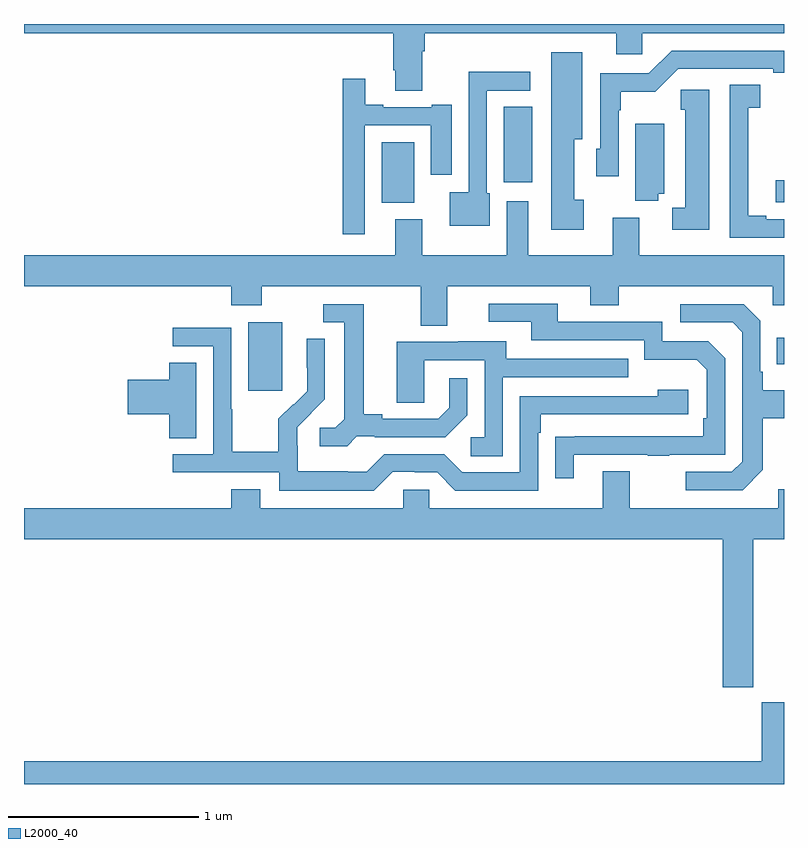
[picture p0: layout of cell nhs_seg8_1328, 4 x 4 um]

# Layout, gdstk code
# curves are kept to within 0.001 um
import gdstk
lib = gdstk.Library(unit=1e-6, precision=1e-09)
def R(c, l, rs):  # rectangles x0, y0, x1, y1
    for r in rs: c.add(gdstk.rectangle(r[:2], r[2:], *l))
def P(c, l, *ps):  # polygons
    for p in ps: c.add(gdstk.Polygon(p, *l))
L2000_40 = (2000, 40)

nhs_seg8_1328 = lib.new_cell('nhs_seg8_1328')
R(nhs_seg8_1328, L2000_40, [(196.181,1095.969,196.36,1096.33), (198.961,1096.109,199,1096.249), (196.883,1096.958,197.053,1097.278), (198.957,1096.963,199,1097.078), (197.525,1097.067,197.674,1097.465)])
P(nhs_seg8_1328, L2000_40, [(197.095,1097.756),(197.108,1097.756),(197.108,1097.852),(198.116,1097.852),(198.116,1097.742),(198.255,1097.742),(198.255,1097.852),(199,1097.852),(199,1097.9),(195,1097.9),(195,1097.852),(196.943,1097.852),(196.943,1097.656),(196.955,1097.656),(196.955,1097.548),(197.095,1097.548)],
  [(198.129,1097.447),(198.142,1097.447),(198.142,1097.543),(198.323,1097.543),(198.444,1097.664),(198.944,1097.664),(198.944,1097.644),(199,1097.644),(199,1097.76),(198.408,1097.76),(198.288,1097.64),(198.033,1097.64),(198.033,1097.244),(198.012,1097.244),(198.012,1097.1),(198.129,1097.1)],
  [(197.947,1096.974),(197.896,1096.974),(197.896,1097.294),(197.938,1097.294),(197.938,1097.752),(197.774,1097.752),(197.774,1096.818),(197.947,1096.818)],
  [(197.452,1097.01),(197.436,1097.01),(197.436,1097.55),(197.665,1097.55),(197.665,1097.648),(197.34,1097.648),(197.34,1097.014),(197.24,1097.014),(197.24,1096.838),(197.452,1096.838)],
  [(196.794,1097.367),(197.141,1097.367),(197.141,1097.106),(197.251,1097.106),(197.251,1097.476),(197.147,1097.476),(197.147,1097.463),(196.891,1097.463),(196.891,1097.476),(196.795,1097.476),(196.795,1097.611),(196.678,1097.611),(196.678,1096.794),(196.794,1096.794)],
  [(199,1096.872),(198.907,1096.872),(198.907,1096.892),(198.811,1096.892),(198.811,1097.155),(198.813,1097.155),(198.813,1097.459),(198.874,1097.459),(198.874,1097.579),(198.714,1097.579),(198.714,1096.776),(199,1096.776)],
  [(198.607,1097.554),(198.457,1097.554),(198.457,1097.448),(198.479,1097.448),(198.479,1096.932),(198.411,1096.932),(198.411,1096.817),(198.607,1096.817)],
  [(198.338,1097.006),(198.37,1097.006),(198.37,1097.374),(198.218,1097.374),(198.218,1096.969),(198.338,1096.969)],
  [(197.227,1096.52),(197.981,1096.52),(197.981,1096.421),(198.129,1096.421),(198.129,1096.52),(198.942,1096.52),(198.942,1096.421),(199,1096.421),(199,1096.684),(198.238,1096.684),(198.238,1096.879),(198.098,1096.879),(198.098,1096.684),(197.653,1096.684),(197.653,1096.966),(197.54,1096.966),(197.54,1096.684),(197.095,1096.684),(197.095,1096.873),(196.955,1096.873),(196.955,1096.684),(195,1096.684),(195,1096.52),(196.091,1096.52),(196.091,1096.421),(196.251,1096.421),(196.251,1096.52),(197.087,1096.52),(197.087,1096.312),(197.227,1096.312)],
  [(197.893,1095.633),(198.283,1095.633),(198.283,1095.628),(198.395,1095.628),(198.395,1095.633),(198.69,1095.633),(198.69,1096.14),(198.6,1096.23),(198.36,1096.23),(198.36,1096.332),(197.809,1096.332),(197.809,1096.428),(197.445,1096.428),(197.445,1096.332),(197.669,1096.332),(197.669,1096.236),(198.264,1096.236),(198.264,1096.133),(198.541,1096.133),(198.594,1096.08),(198.594,1095.826),(198.574,1095.826),(198.574,1095.729),(197.797,1095.728),(197.797,1095.51),(197.893,1095.51)],
  [(198.889,1095.553),(198.889,1095.826),(199,1095.826),(199,1095.973),(198.889,1095.973),(198.889,1096.069),(198.876,1096.069),(198.876,1096.338),(198.789,1096.425),(198.453,1096.425),(198.453,1096.329),(198.729,1096.329),(198.78,1096.278),(198.78,1095.597),(198.726,1095.543),(198.483,1095.543),(198.483,1095.447),(198.783,1095.447)],
  [(196.752,1095.729),(196.846,1095.729),(196.846,1095.726),(197.218,1095.726),(197.334,1095.842),(197.334,1096.036),(197.237,1096.036),(197.237,1095.879),(197.18,1095.822),(196.885,1095.822),(196.885,1095.845),(196.789,1095.845),(196.789,1096.425),(196.575,1096.425),(196.575,1096.329),(196.685,1096.329),(196.685,1095.821),(196.638,1095.774),(196.557,1095.774),(196.557,1095.677),(196.7,1095.677)],
  [(196.941,1095.543),(197.057,1095.543),(197.057,1095.54),(197.175,1095.54),(197.271,1095.444),(197.706,1095.444),(197.706,1095.749),(197.719,1095.749),(197.719,1095.846),(198.496,1095.846),(198.496,1095.976),(198.335,1095.976),(198.335,1095.942),(197.61,1095.942),(197.61,1095.54),(197.307,1095.54),(197.211,1095.636),(196.896,1095.636),(196.803,1095.543),(196.703,1095.543),(196.703,1095.547),(196.44,1095.547),(196.44,1095.681),(196.438,1095.681),(196.438,1095.778),(196.584,1095.926),(196.584,1096.244),(196.488,1096.244),(196.488,1096.09),(196.49,1096.09),(196.49,1095.968),(196.419,1095.897),(196.416,1095.9),(196.339,1095.823),(196.339,1095.649),(196.095,1095.649),(196.095,1095.872),(196.092,1095.872),(196.092,1096.302),(195.783,1096.302),(195.783,1096.203),(195.996,1096.203),(195.996,1095.636),(195.783,1095.636),(195.783,1095.54),(196.344,1095.54),(196.344,1095.443),(196.841,1095.443)],
  [(197.52,1096.041),(198.179,1096.041),(198.179,1096.137),(197.539,1096.137),(197.539,1096.231),(197.285,1096.231),(197.285,1096.227),(196.961,1096.227),(196.961,1095.907),(197.106,1095.907),(197.106,1096.131),(197.424,1096.131),(197.424,1095.726),(197.352,1095.726),(197.352,1095.625),(197.52,1095.625)],
  [(195.907,1096.118),(195.764,1096.118),(195.764,1096.028),(195.546,1096.028),(195.546,1095.845),(195.764,1095.845),(195.764,1095.721),(195.907,1095.721)],
  [(198.837,1095.188),(199,1095.188),(199,1095.451),(198.971,1095.451),(198.971,1095.352),(198.187,1095.352),(198.187,1095.547),(198.047,1095.547),(198.047,1095.352),(197.133,1095.352),(197.133,1095.45),(196.995,1095.45),(196.995,1095.352),(196.243,1095.352),(196.243,1095.451),(196.091,1095.451),(196.091,1095.352),(195,1095.352),(195,1095.188),(198.677,1095.188),(198.677,1094.409),(198.837,1094.409)],
  [(199,1094.329),(198.884,1094.329),(198.884,1094.02),(195,1094.02),(195,1093.9),(199,1093.9)])

lib.write_gds('nhs_seg8_1328.gds')
